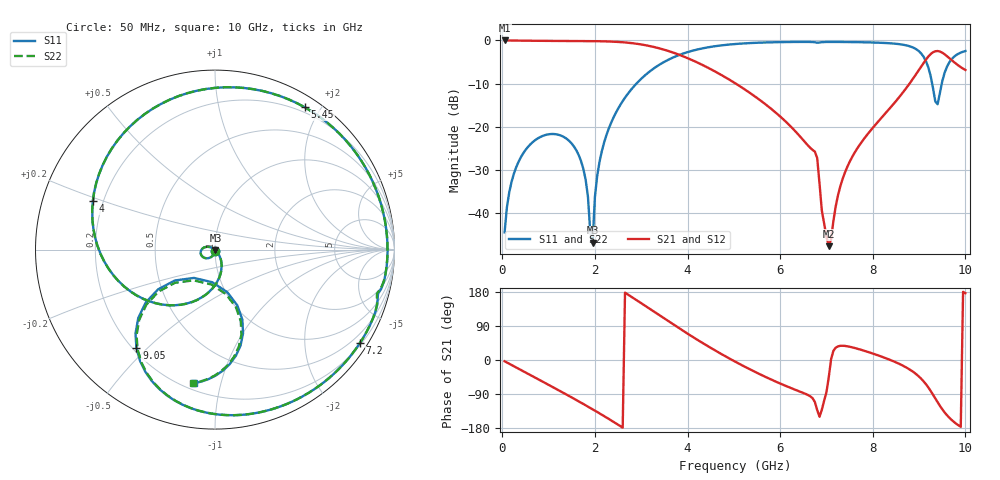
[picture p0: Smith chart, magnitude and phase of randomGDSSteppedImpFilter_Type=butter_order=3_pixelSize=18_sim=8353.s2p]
! freq	dB(S11)	phase(S11)	dB(S12)	phase(S12)
!  dB(S21)	phase(S21)	dB(S22)	phase(S22)
!S-par simulation data
#  GHz  S  DB  R 50
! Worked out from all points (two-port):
!   200 points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, 50 MHz to 10 GHz, reference 50 ohm
!   highest |S21| = -0.01 dB at 50 MHz (marker M1); lowest = -47.7 dB at 7.05 GHz (marker M2)
!   |S21| within 3 dB of the highest: start of sweep to 3.74 GHz; 9.268 GHz to 9.523 GHz (255.2 MHz wide, 2.72 % of centre)
!   lowest |S11| = -46.8 dB at 1.95 GHz (marker M3), VSWR 1.01, Z = 50.3 - j0.378 ohm
!   |S11| at or under -10 dB: start of sweep to 2.896 GHz; 9.282 GHz to 9.491 GHz (208.7 MHz wide, 2.22 % of centre)
!   |S22| runs from -47.0 to -0.3 dB; largest |S21 - S12| = 0
!   S11 on the Smith chart (normalised r, x): 50 MHz: 1.00, -0.01; 4 GHz: 0.16, +0.19; 5.45 GHz: 0.14, +1.81; 7.2 GHz: 0.25, -3.37; 9.05 GHz: 0.21, -0.46; 10 GHz: 0.24, -0.83
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0.05  -44.44 -88.4  -0.01 -3.3  -0.01 -3.3  -44.44 -88.4
0.25  -30.88 -105.6  -0.03 -16.5  -0.03 -16.5  -30.88 -105.6
0.7  -23.18 -136.2  -0.08 -45.9  -0.08 -45.9  -23.18 -136.2
1.35  -22.49 -179.2  -0.13 -88.8  -0.13 -88.8  -22.49 -179.4
1.75  -29.74 154.5  -0.15 -116.0  -0.15 -116.0  -29.75 153.8
1.95  -46.82 -55.6  -0.16 -130.1  -0.16 -130.1  -47.00 -48.7
2.05  -31.35 -50.7  -0.18 -137.2  -0.18 -137.2  -31.35 -49.5
2.3  -20.40 -67.5  -0.24 -155.6  -0.24 -155.6  -20.40 -67.1
2.8  -11.16 -105.6  -0.63 165.9  -0.63 165.9  -11.16 -105.4
3.4  -5.57 -153.9  -1.86 117.4  -1.86 117.4  -5.57 -153.8
4  -2.71 158.4  -4.10 69.5  -4.10 69.5  -2.71 158.5
5.05  -0.81 83.1  -10.06 -5.8  -10.06 -5.8  -0.81 83.1
5.45  -0.56 57.7  -12.93 -30.9  -12.93 -30.9  -0.56 57.7
6.7  -0.37 -10.6  -25.35 -100.8  -25.35 -100.8  -0.39 -10.8
6.8  -0.53 -15.1  -27.24 -132.1  -27.24 -132.1  -0.59 -15.2
7.05  -0.35 -26.1  -47.65 -45.2  -47.65 -45.2  -0.35 -25.9
7.2  -0.35 -32.9  -38.41 32.5  -38.41 32.5  -0.35 -32.8
8.35  -0.64 -83.5  -15.94 1.5  -15.94 1.5  -0.64 -83.2
9.05  -3.08 -128.6  -5.96 -50.0  -5.96 -50.0  -3.05 -127.8
9.4  -14.78 -94.7  -2.45 -111.3  -2.45 -111.3  -14.18 -95.9
9.6  -6.14 -71.5  -3.62 -145.4  -3.62 -145.4  -6.09 -72.8
10  -2.46 -98.9  -6.84 176.3  -6.84 176.3  -2.45 -99.4
